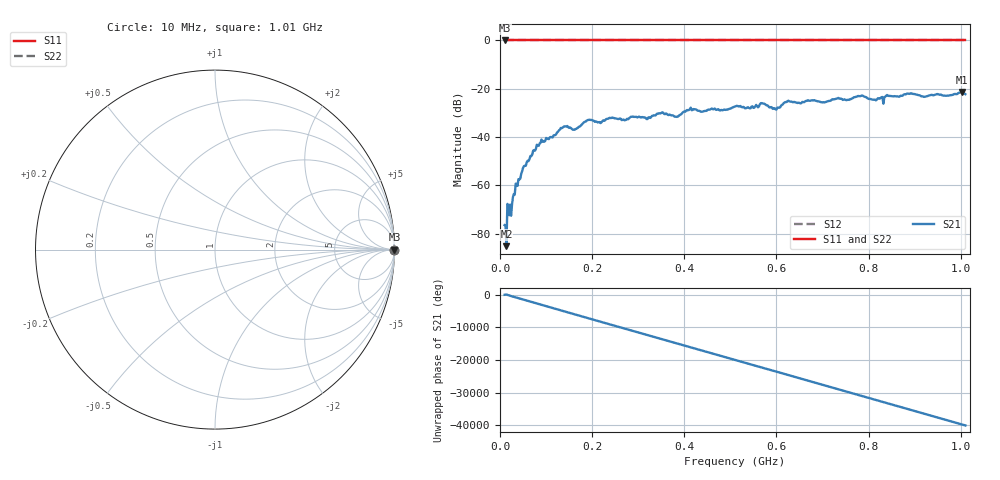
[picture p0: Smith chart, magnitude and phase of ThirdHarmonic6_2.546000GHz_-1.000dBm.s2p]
! 8/17/2025 5:10:32 AM
! C:\ANRITSUVNA\TEMP\TEMP.S2P
! CHANNEL.1
! TR.MEASUREMENT
! RAW.DATA
! RF.CORRECTION.OFF
! AVERAGING.OFF
! IF.BANDWIDTH: 5KHZ
! SWEEPTYPE:  FREQ.SWEEP(Linear)
! Reference Plane Port Info
! PORT:  PORT1  PORT2
! DISTANCE:  0  m  0  m
! TIME:  0  s  0  s
! PHASE.OFFSET:  0  deg.  0  deg.
! LOSS:  0  dB  0  dB
! REF.LOSS:  0  dB  0  dB
! REF.FREQ:  0  Hz  0  Hz
! Power Info
! POWER:  -20  dBm  -20  dBm
! EFF.POWER:  -20  dBm  -20  dBm
! SOURCE.ATTEN:  0  dB  0  dB
! TEST.ATTEN:  0  dB  0  dB
# GHZ S RI R 50.0
! FREQ.GHZ  S11RE  S11IM  S21RE  S21IM  S12RE  S12IM  S22RE  S22IM
!; PortSelection: Port_12
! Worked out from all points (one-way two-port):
!   501 points, 10 MHz to 1.01 GHz, reference 50 ohm
!   highest |S21| = -21.38 dB at 1.002 GHz (marker M1); lowest = -85.2 dB at 14 MHz (marker M2)
!   lowest |S11| = 0.0 dB at 10 MHz (marker M3)
!   |S11| at or under -10 dB: nowhere
!   |S22| runs from 0.0 to 0.0 dB; largest |S21 - S12| = 1.1
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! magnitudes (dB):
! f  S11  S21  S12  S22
! 10 MHz  0.0  -76.4  0.0  0.0
! 14 MHz  0.0  -85.2  0.0  0.0
! 24 MHz  0.0  -72.6  0.0  0.0
! 38 MHz  0.0  -60.2  0.0  0.0
! 76 MHz  0.0  -45.6  0.0  0.0
! 136 MHz  0.0  -36.1  0.0  0.0
! 162 MHz  0.0  -37.0  0.0  0.0
! 178 MHz  0.0  -34.7  0.0  0.0
! 194 MHz  0.0  -32.8  0.0  0.0
! 322 MHz  0.0  -31.9  0.0  0.0
! 344 MHz  0.0  -30.3  0.0  0.0
! 382 MHz  0.0  -31.6  0.0  0.0
! 410 MHz  0.0  -28.8  0.0  0.0
! 510 MHz  0.0  -27.3  0.0  0.0
! 570 MHz  0.0  -26.0  0.0  0.0
! 596 MHz  0.0  -28.1  0.0  0.0
! 624 MHz  0.0  -25.1  0.0  0.0
! 678 MHz  0.0  -24.8  0.0  0.0
! 814 MHz  0.0  -24.5  0.0  0.0
! 844 MHz  0.0  -23.0  0.0  0.0
! 1.002 GHz  0.0  -21.4  0.0  0.0
! 1.01 GHz  0.0  -22.2  0.0  0.0
